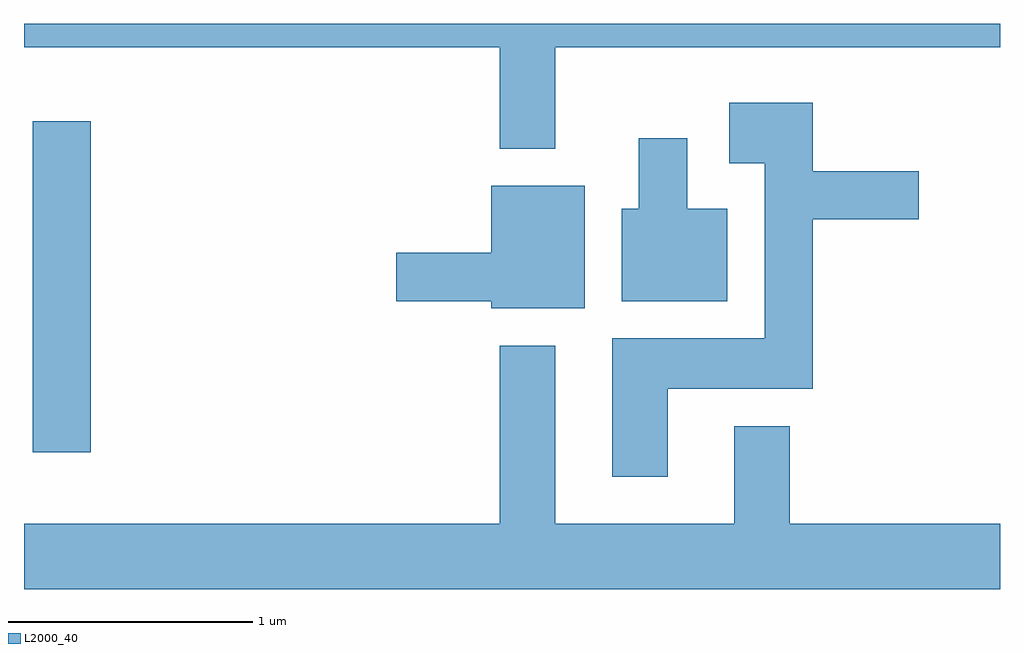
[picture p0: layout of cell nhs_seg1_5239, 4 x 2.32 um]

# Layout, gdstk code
import gdstk
lib = gdstk.Library(unit=1e-6, precision=1e-09)
def R(c, l, rs):  # rectangles x0, y0, x1, y1
    for r in rs: c.add(gdstk.rectangle(r[:2], r[2:], *l))
def P(c, l, *ps):  # polygons
    for p in ps: c.add(gdstk.Polygon(p, *l))
L2000_40 = (2000, 40)

nhs_seg1_5239 = lib.new_cell('nhs_seg1_5239')
R(nhs_seg1_5239, L2000_40, [(343.646,857.956,343.884,859.314)])
P(nhs_seg1_5239, L2000_40, [(345.789,859.616),(347.611,859.616),(347.611,859.712),(343.611,859.712),(343.611,859.616),(345.561,859.616),(345.561,859.201),(345.789,859.201)],
  [(346.249,858.216),(346.844,858.216),(346.844,858.911),(347.279,858.911),(347.279,859.109),(346.844,859.109),(346.844,859.389),(346.501,859.389),(346.501,859.141),(346.646,859.141),(346.646,858.424),(346.021,858.424),(346.021,857.856),(346.249,857.856)],
  [(346.494,858.954),(346.329,858.954),(346.329,859.244),(346.131,859.244),(346.131,858.954),(346.061,858.954),(346.061,858.576),(346.494,858.576)],
  [(345.909,859.049),(345.526,859.049),(345.526,858.774),(345.136,858.774),(345.136,858.576),(345.526,858.576),(345.526,858.546),(345.909,858.546)],
  [(347.611,857.664),(346.749,857.664),(346.749,858.064),(346.521,858.064),(346.521,857.664),(345.789,857.664),(345.789,858.394),(345.561,858.394),(345.561,857.664),(343.611,857.664),(343.611,857.396),(347.611,857.396)])

lib.write_gds('nhs_seg1_5239.gds')
